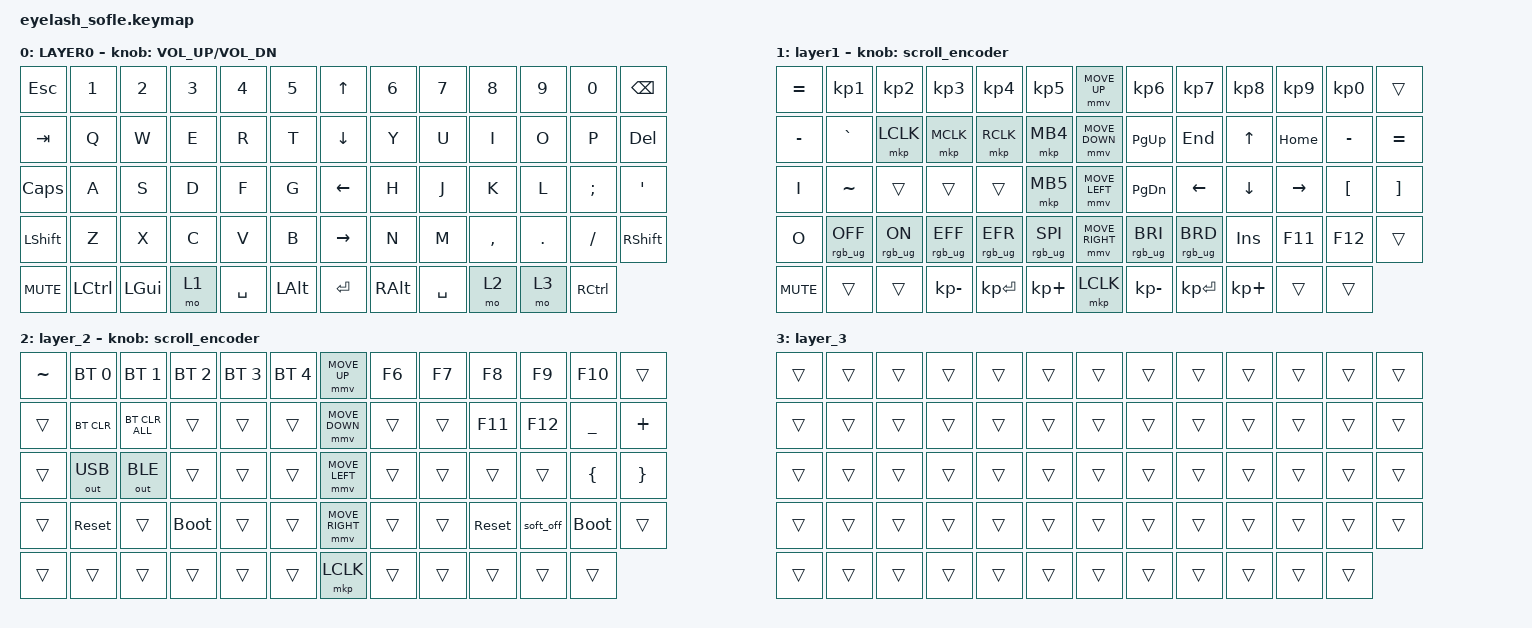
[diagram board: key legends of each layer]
#define ZMK_POINTING_DEFAULT_MOVE_VAL 1200  // 600
#define ZMK_POINTING_DEFAULT_SCRL_VAL 35    // 10

#include <input/processors.dtsi>
#include <zephyr/dt-bindings/input/input-event-codes.h>
#include <behaviors.dtsi>
#include <dt-bindings/zmk/bt.h>
#include <dt-bindings/zmk/keys.h>
#include <dt-bindings/zmk/outputs.h>
#include <dt-bindings/zmk/pointing.h>
#include <dt-bindings/zmk/rgb.h>

/ {
    zip_scroll_scaler: zip_scroll_scaler {
        compatible = "zmk,input-processor-scaler";
        #input-processor-cells = <2>;
        type = <INPUT_EV_REL>;
        codes = <INPUT_REL_WHEEL INPUT_REL_HWHEEL>;
        track-remainders;
    };
};

&mmv_input_listener { input-processors = <&zip_xy_scaler 2 1>; };

&msc_input_listener { input-processors = <&zip_scroll_scaler 2 1>; };

&msc {
    acceleration-exponent = <0>;      // 0
    time-to-max-speed-ms = <0>;       // 300
    delay-ms = <0>;                   // 0
};

&mmv {
    time-to-max-speed-ms = <400>;
    acceleration-exponent = <1>;
};

/ {
    scroll_encoder: scroll_encoder {
        compatible = "zmk,behavior-sensor-rotate";
        #sensor-binding-cells = <0>;
        bindings = <&msc SCRL_DOWN>, <&msc SCRL_UP>;

        tap-ms = <30>;
    };

    macros {
        shift_MB3: shift_MB3 {
            compatible = "zmk,behavior-macro";
            #binding-cells = <0>;
            bindings =
                <&macro_press>,
                <&kp LEFT_SHIFT>,
                <&macro_press>,
                <&mkp MB3>,
                <&macro_pause_for_release>,
                <&macro_release>,
                <&mkp MB3 &kp LEFT_SHIFT>;

            label = "SHIFT_MB3";
        };
    };

    behaviors {
    };

    keymap {
        compatible = "zmk,keymap";

        layer0 {
            bindings = <
&kp ESC     &kp N1     &kp N2        &kp N3  &kp N4     &kp N5          &kp UP_ARROW     &kp N6         &kp N7     &kp N8     &kp N9   &kp N0             &kp BACKSPACE
&kp TAB     &kp Q      &kp W         &kp E   &kp R      &kp T           &kp DOWN_ARROW   &kp Y          &kp U      &kp I      &kp O    &kp P              &kp DELETE
&kp CAPS    &kp A      &kp S         &kp D   &kp F      &kp G           &kp LEFT_ARROW   &kp H          &kp J      &kp K      &kp L    &kp SEMI           &kp APOS
&kp LSHFT   &kp Z      &kp X         &kp C   &kp V      &kp B           &kp RIGHT_ARROW  &kp N          &kp M      &kp COMMA  &kp DOT  &kp FSLH           &kp RIGHT_SHIFT
&kp C_MUTE  &kp LCTRL  &kp LEFT_GUI  &mo 1   &kp SPACE  &kp LEFT_ALT    &kp ENTER        &kp RIGHT_ALT  &kp SPACE  &mo 2      &mo 3    &kp RIGHT_CONTROL
            >;

            sensor-bindings = <&inc_dec_kp C_VOLUME_UP C_VOL_DN>;
            display-name = "LAYER0";
        };

        layer_1 {
            bindings = <
&kp EQUAL   &kp KP_NUMBER_1  &kp KP_NUMBER_2  &kp KP_NUMBER_3  &kp KP_NUMBER_4  &kp KP_NUMBER_5    &mmv MOVE_UP     &kp KP_NUMBER_6  &kp KP_NUMBER_7  &kp KP_NUMBER_8  &kp KP_NUMBER_9  &kp KP_NUMBER_0   &trans
&kp MINUS   &kp GRAVE        &mkp LCLK        &mkp MCLK        &mkp RCLK        &mkp MB4           &mmv MOVE_DOWN   &kp PG_UP        &kp END          &kp UP           &kp HOME         &kp MINUS         &kp EQUAL
&kp I       &kp TILDE        &trans           &trans           &trans           &mkp MB5           &mmv MOVE_LEFT   &kp PG_DN        &kp LEFT         &kp DOWN         &kp RIGHT        &kp LEFT_BRACKET  &kp RIGHT_BRACKET
&kp O       &rgb_ug RGB_OFF  &rgb_ug RGB_ON   &rgb_ug RGB_EFF  &rgb_ug RGB_EFR  &rgb_ug RGB_SPI    &mmv MOVE_RIGHT  &rgb_ug RGB_BRI  &rgb_ug RGB_BRD  &kp INSERT       &kp F11          &kp F12           &trans
&kp C_MUTE  &trans           &trans           &kp KP_MINUS     &kp KP_ENTER     &kp KP_PLUS        &mkp LCLK        &kp KP_MINUS     &kp KP_ENTER     &kp KP_PLUS      &trans           &trans
            >;

            display-name = "layer1";
            sensor-bindings = <&scroll_encoder>;
        };

        layer_2 {
            bindings = <
&kp TILDE  &bt BT_SEL 0  &bt BT_SEL 1    &bt BT_SEL 2  &bt BT_SEL 3  &bt BT_SEL 4    &mmv MOVE_UP     &kp F6  &kp F7  &kp F8      &kp F9     &kp F10      &trans
&trans     &bt BT_CLR    &bt BT_CLR_ALL  &trans        &trans        &trans          &mmv MOVE_DOWN   &trans  &trans  &kp F11     &kp F12    &kp UNDER    &kp PLUS
&trans     &out OUT_USB  &out OUT_BLE    &trans        &trans        &trans          &mmv MOVE_LEFT   &trans  &trans  &trans      &trans     &kp LBRC     &kp RBRC
&trans     &sys_reset    &trans          &bootloader   &trans        &trans          &mmv MOVE_RIGHT  &trans  &trans  &sys_reset  &soft_off  &bootloader  &trans
&trans     &trans        &trans          &trans        &trans        &trans          &mkp LCLK        &trans  &trans  &trans      &trans     &trans
            >;

            sensor-bindings = <&scroll_encoder>;
        };

        layer_3 {
            bindings = <
&trans  &trans  &trans  &trans  &trans  &trans    &trans  &trans  &trans  &trans  &trans  &trans  &trans
&trans  &trans  &trans  &trans  &trans  &trans    &trans  &trans  &trans  &trans  &trans  &trans  &trans
&trans  &trans  &trans  &trans  &trans  &trans    &trans  &trans  &trans  &trans  &trans  &trans  &trans
&trans  &trans  &trans  &trans  &trans  &trans    &trans  &trans  &trans  &trans  &trans  &trans  &trans
&trans  &trans  &trans  &trans  &trans  &trans    &trans  &trans  &trans  &trans  &trans  &trans
            >;
        };
    };
};
